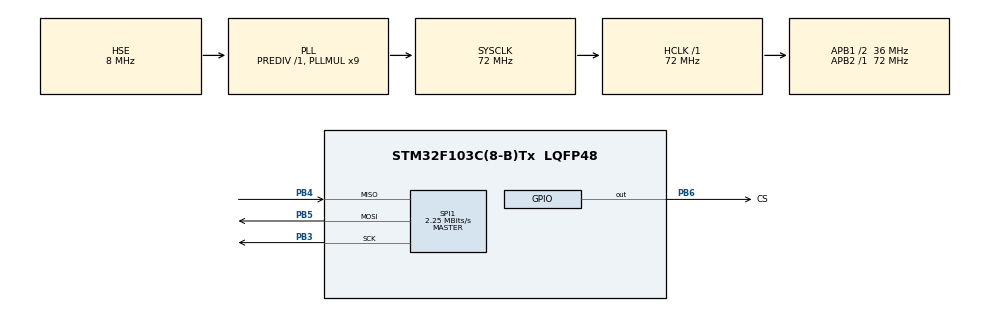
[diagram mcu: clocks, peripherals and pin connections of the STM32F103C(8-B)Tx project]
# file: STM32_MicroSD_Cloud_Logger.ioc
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Dma.Request0=SPI1_RX
Dma.Request1=SPI1_TX
Dma.SPI1_RX.0.Direction=DMA_PERIPH_TO_MEMORY
Dma.SPI1_RX.0.Instance=DMA1_Channel2
Dma.SPI1_RX.0.MemDataAlignment=DMA_MDATAALIGN_BYTE
Dma.SPI1_RX.0.MemInc=DMA_MINC_ENABLE
Dma.SPI1_RX.0.Mode=DMA_NORMAL
Dma.SPI1_RX.0.PeriphDataAlignment=DMA_PDATAALIGN_BYTE
Dma.SPI1_RX.0.PeriphInc=DMA_PINC_DISABLE
Dma.SPI1_RX.0.Priority=DMA_PRIORITY_LOW
Dma.SPI1_TX.1.Direction=DMA_MEMORY_TO_PERIPH
Dma.SPI1_TX.1.Instance=DMA1_Channel3
Dma.SPI1_TX.1.MemDataAlignment=DMA_MDATAALIGN_BYTE
Dma.SPI1_TX.1.MemInc=DMA_MINC_ENABLE
Dma.SPI1_TX.1.Mode=DMA_NORMAL
Dma.SPI1_TX.1.PeriphDataAlignment=DMA_PDATAALIGN_BYTE
Dma.SPI1_TX.1.PeriphInc=DMA_PINC_DISABLE
Dma.SPI1_TX.1.Priority=DMA_PRIORITY_LOW
FATFS._USE_LABEL=1
FATFS._USE_LFN=3
Mcu.Family=STM32F1
Mcu.Name=STM32F103C(8-B)Tx
Mcu.Package=LQFP48
NVIC.DMA1_Channel2_IRQn=true\:0\:0\:false\:false\:true\:false\:true\:true
NVIC.DMA1_Channel3_IRQn=true\:0\:0\:false\:false\:true\:false\:true\:true
NVIC.PriorityGroup=NVIC_PRIORITYGROUP_4
PA13.Mode=Serial_Wire
PA13.Signal=SYS_JTMS-SWDIO
PA14.Mode=Serial_Wire
PA14.Signal=SYS_JTCK-SWCLK
PB3.Mode=Full_Duplex_Master
PB3.Signal=SPI1_SCK
PB4.Mode=Full_Duplex_Master
PB4.Signal=SPI1_MISO
PB5.Mode=Full_Duplex_Master
PB5.Signal=SPI1_MOSI
PB6.GPIO_Label=CS
PB6.GPIO_Speed=GPIO_SPEED_FREQ_HIGH
PB6.PinState=GPIO_PIN_SET
PB6.Signal=GPIO_Output
PD0-OSC_IN.Mode=HSE-External-Oscillator
PD0-OSC_IN.Signal=RCC_OSC_IN
PD1-OSC_OUT.Mode=HSE-External-Oscillator
PD1-OSC_OUT.Signal=RCC_OSC_OUT
ProjectManager.HeapSize=0x200
ProjectManager.StackSize=0x400
ProjectManager.TargetToolchain=STM32CubeIDE
RCC.AHBFreq_Value=72000000
RCC.APB1CLKDivider=RCC_HCLK_DIV2
RCC.APB1Freq_Value=36000000
RCC.APB1TimFreq_Value=72000000
RCC.APB2Freq_Value=72000000
RCC.APB2TimFreq_Value=72000000
RCC.EnbaleCSS=true
RCC.HCLKFreq_Value=72000000
RCC.PLLMUL=RCC_PLL_MUL9
RCC.PLLSourceVirtual=RCC_PLLSOURCE_HSE
RCC.SYSCLKFreq_VALUE=72000000
RCC.SYSCLKSource=RCC_SYSCLKSOURCE_PLLCLK
RCC.USBFreq_Value=72000000
SPI1.BaudRatePrescaler=SPI_BAUDRATEPRESCALER_32
SPI1.CalculateBaudRate=2.25 MBits/s
SPI1.Direction=SPI_DIRECTION_2LINES
SPI1.Mode=SPI_MODE_MASTER
SPI1.VirtualType=VM_MASTER
VP_FATFS_VS_Generic.Mode=User_defined
board=custom

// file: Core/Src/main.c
/* USER CODE BEGIN Header */
/**
 ******************************************************************************
 * @file           : main.c
 * @brief          : Main program body
 ******************************************************************************
 * @attention
 *
 * Copyright (c) 2026 STMicroelectronics.
 * All rights reserved.
 *
 * This software is licensed under terms that can be found in the LICENSE file
 * in the root directory of this software component.
 * If no LICENSE file comes with this software, it is provided AS-IS.
 *
 ******************************************************************************
 */
/* USER CODE END Header */
#include "main.h"
#include "fatfs.h"

/* USER CODE BEGIN Includes */
#include "sd_data_logger.h"
#include "sd_diskio.h"
#include "sd_functions.h"
#include "sd_spi.h"
#include "esp8266.h"
#include "usart1.h"
#include "usart2.h"
#include "dwt.h"
#include "i2c2.h"
#include "lcd.h"
#include "timer2.h"
#include "timer3.h"
#include "mpu6050.h"
#include "dht11.h"
#include "ds3231.h"
#include "utils.h"
#include "tasks.h"
#include "button.h"
/* USER CODE END Includes */

/* USER CODE BEGIN PM */
#define DHT11_READ_TICKS      100
#define MPU_READ_TICKS        5
#define LCD_UPDATE_TICKS      10
#define MQTT_DHT11_PUBLISH    1500
#define MQTT_MPU6050_PUBLISH  1000
#define SDCARD_SAVE_TICKS     500
/* USER CODE END PM */

SPI_HandleTypeDef hspi1;
DMA_HandleTypeDef hdma_spi1_rx;
DMA_HandleTypeDef hdma_spi1_tx;

void SystemClock_Config(void);
static void MX_GPIO_Init(void);
static void MX_DMA_Init(void);
static void MX_SPI1_Init(void);

int main(void)
{

  /* MCU Configuration--------------------------------------------------------*/

  /* Reset of all peripherals, Initializes the Flash interface and the Systick. */
  HAL_Init();

  /* Configure the system clock */
  SystemClock_Config();

  /* Initialize all configured peripherals */
  MX_GPIO_Init();
  MX_DMA_Init();
  MX_SPI1_Init();

  /* USER CODE BEGIN 2 */
  TIMER2_Init();
  TIMER4_Init();
  USART1_Init();
  USART2_Init();
  DWT_Init();
  I2C2_Init();
  LCD_Init();

  // Loop counters
  uint16_t dht_count = 0;
  uint16_t lcd_count = 0;
  uint16_t mpu_count = 0;
  uint16_t mqtt_dht11_count = 0;
  uint16_t mqtt_mpu6050_count = 0;
  uint16_t sdcard_count = 0;

  // Welcome Message
  USART2_SendString("============================\n");
  USART2_SendString("STM32 Project Initialization\n");
  USART2_SendString("============================\n");

  LCD_Clear();
  LCD_SendString("STM32 PROJECT");
  LCD_SetCursor(1, 0);
  LCD_SendString("INITIALIZING...");

  // Initialize ESP8266
  if(ESP_Init() != ESP8266_OK)
  {
    USART2_SendString("Failed to initialize... Check Debug logs\n");
  }
  USART2_SendString("ESP8266 Initialized\n");

  LCD_Clear();
  LCD_SendString("CONNECTING");
  LCD_SetCursor(1, 5);
  LCD_SendString("TO WIFI ...");

  // Connect to WiFi
  char ip_buf[16];
  if(ESP_ConnectWiFi("xxxxx", "xxxxx!", ip_buf, sizeof(ip_buf)) != ESP8266_OK)
  {
    USART2_SendString("Failed to connect to wifi...\n");
  }

  LCD_Clear();
  LCD_SendString("WIFI CONNECTION");
  LCD_SetCursor(1, 5);
  LCD_SendString("READY ...");

  TIMER2_Delay_ms(2000);

  LCD_Clear();
  LCD_SendString("INITIALIZING");
  LCD_SetCursor(1, 5);
  LCD_SendString("SD CARD...");

  TIMER2_Delay_ms(2000);

  if(SD_DataLogger_Init() == SD_LOGGER_OK)
  {
    USART2_SendString("SD Logger ready!\r\n");
    LCD_Clear();
    LCD_SendString("SD CARD");
    LCD_SetCursor(1, 5);
    LCD_SendString("READY...");
  }
  else
  {
    USART2_SendString("SD Logger init FAILED!\r\n");
  }

  // Initialize sensors
  DS3231_Init();
  MPU6050_Init();
  DHT11_Init();

  TIMER2_Delay_ms(2000);

  LCD_Clear();
  LCD_SendString("CONNECTING");
  LCD_SetCursor(1, 5);
  LCD_SendString("TO MQTT...");

  // Connect to MQTT
  MQTT_Init();

  LCD_Clear();
  LCD_SendString("CONNECTED");
  LCD_SetCursor(1, 0);
  LCD_SendString("THINGSPEAK MQTT");

  Button_Init();

  TIMER2_Delay_ms(2000);

  TIMER3_SetupPeriod(10);  // 10ms period
  /* USER CODE END 2 */

  /* Infinite loop */
  while(1)
  {

    /* USER CODE BEGIN 3 */

    // Run Tasks at Different Rates
    // Check buttons status
    Task_Button_Status();

    // Update feedback timer
    Task_Feedback_Update();

    // Read DHT11 every 1 seconds
    if(dht_count++ >= DHT11_READ_TICKS)
    {
      Task_DHT11_Read();
      dht_count = 0;
    }

    // Read MPU6050 every 50ms
    if(mpu_count++ >= MPU_READ_TICKS)
    {
      Task_MPU6050_Read();
      mpu_count = 0;
    }

    // Update LCD every 100ms
    if(lcd_count++ >= LCD_UPDATE_TICKS)
    {
      Task_LCD_Update();
      lcd_count = 0;
    }

    // Publish MQTT DHT11 every 15 seconds
    if(mqtt_dht11_count++ >= MQTT_DHT11_PUBLISH)
    {
      Task_MQTT_Publish_DHT11();
      mqtt_dht11_count = 0;
    }

    // Publish MQTT MPU6050 every 5 seconds
    if(mqtt_mpu6050_count++ >= MQTT_MPU6050_PUBLISH)
    {
      Task_MQTT_Publish_MPU6050();
      mqtt_mpu6050_count = 0;
    }

    // Save data every 5 seconds
    if(sdcard_count++ >= SDCARD_SAVE_TICKS)  // 500 * 10ms = 5 seconds
    {
      // Uncomment to enable 5 sec auto save
      // Task_SD_DataLogger();
      sdcard_count = 0;
    }

    TIMER3_WaitPeriod(); // Heart Beat time check
  }
  /* USER CODE END 3 */
}

void SystemClock_Config(void)
{
  RCC_OscInitTypeDef RCC_OscInitStruct = {0};
  RCC_ClkInitTypeDef RCC_ClkInitStruct = {0};

  /** Initializes the RCC Oscillators according to the specified parameters
   * in the RCC_OscInitTypeDef structure.
   */
  RCC_OscInitStruct.OscillatorType = RCC_OSCILLATORTYPE_HSE;
  RCC_OscInitStruct.HSEState = RCC_HSE_ON;
  RCC_OscInitStruct.HSEPredivValue = RCC_HSE_PREDIV_DIV1;
  RCC_OscInitStruct.HSIState = RCC_HSI_ON;
  RCC_OscInitStruct.PLL.PLLState = RCC_PLL_ON;
  RCC_OscInitStruct.PLL.PLLSource = RCC_PLLSOURCE_HSE;
  RCC_OscInitStruct.PLL.PLLMUL = RCC_PLL_MUL9;
  if(HAL_RCC_OscConfig(&RCC_OscInitStruct) != HAL_OK)
  {
    Error_Handler();
  }

  /** Initializes the CPU, AHB and APB buses clocks
   */
  RCC_ClkInitStruct.ClockType = RCC_CLOCKTYPE_HCLK | RCC_CLOCKTYPE_SYSCLK | RCC_CLOCKTYPE_PCLK1 | RCC_CLOCKTYPE_PCLK2;
  RCC_ClkInitStruct.SYSCLKSource = RCC_SYSCLKSOURCE_PLLCLK;
  RCC_ClkInitStruct.AHBCLKDivider = RCC_SYSCLK_DIV1;
  RCC_ClkInitStruct.APB1CLKDivider = RCC_HCLK_DIV2;
  RCC_ClkInitStruct.APB2CLKDivider = RCC_HCLK_DIV1;

  if(HAL_RCC_ClockConfig(&RCC_ClkInitStruct, FLASH_LATENCY_2) != HAL_OK)
  {
    Error_Handler();
  }

  /** Enables the Clock Security System
   */
  HAL_RCC_EnableCSS();
}

static void MX_SPI1_Init(void)
{

  /* SPI1 parameter configuration*/
  hspi1.Instance = SPI1;
  hspi1.Init.Mode = SPI_MODE_MASTER;
  hspi1.Init.Direction = SPI_DIRECTION_2LINES;
  hspi1.Init.DataSize = SPI_DATASIZE_8BIT;
  hspi1.Init.CLKPolarity = SPI_POLARITY_LOW;
  hspi1.Init.CLKPhase = SPI_PHASE_1EDGE;
  hspi1.Init.NSS = SPI_NSS_SOFT;
  hspi1.Init.BaudRatePrescaler = SPI_BAUDRATEPRESCALER_32;
  hspi1.Init.FirstBit = SPI_FIRSTBIT_MSB;
  hspi1.Init.TIMode = SPI_TIMODE_DISABLE;
  hspi1.Init.CRCCalculation = SPI_CRCCALCULATION_DISABLE;
  hspi1.Init.CRCPolynomial = 10;
  if(HAL_SPI_Init(&hspi1) != HAL_OK)
  {
    Error_Handler();
  }

}

static void MX_DMA_Init(void)
{

  /* DMA controller clock enable */
  __HAL_RCC_DMA1_CLK_ENABLE();

  /* DMA interrupt init */
  /* DMA1_Channel2_IRQn interrupt configuration */
  HAL_NVIC_SetPriority(DMA1_Channel2_IRQn, 0, 0);
  HAL_NVIC_EnableIRQ(DMA1_Channel2_IRQn);
  /* DMA1_Channel3_IRQn interrupt configuration */
  HAL_NVIC_SetPriority(DMA1_Channel3_IRQn, 0, 0);
  HAL_NVIC_EnableIRQ(DMA1_Channel3_IRQn);

}

static void MX_GPIO_Init(void)
{
  GPIO_InitTypeDef GPIO_InitStruct = {0};

  /* GPIO Ports Clock Enable */
  __HAL_RCC_GPIOD_CLK_ENABLE();
  __HAL_RCC_GPIOA_CLK_ENABLE();
  __HAL_RCC_GPIOB_CLK_ENABLE();

  /*Configure GPIO pin Output Level */
  HAL_GPIO_WritePin(CS_GPIO_Port, CS_Pin, GPIO_PIN_SET);

  /*Configure GPIO pin : CS_Pin */
  GPIO_InitStruct.Pin = CS_Pin;
  GPIO_InitStruct.Mode = GPIO_MODE_OUTPUT_PP;
  GPIO_InitStruct.Pull = GPIO_NOPULL;
  GPIO_InitStruct.Speed = GPIO_SPEED_FREQ_HIGH;
  HAL_GPIO_Init(CS_GPIO_Port, &GPIO_InitStruct);

}

void Error_Handler(void)
{
  __disable_irq();
  while(1)
  {
  }
}
